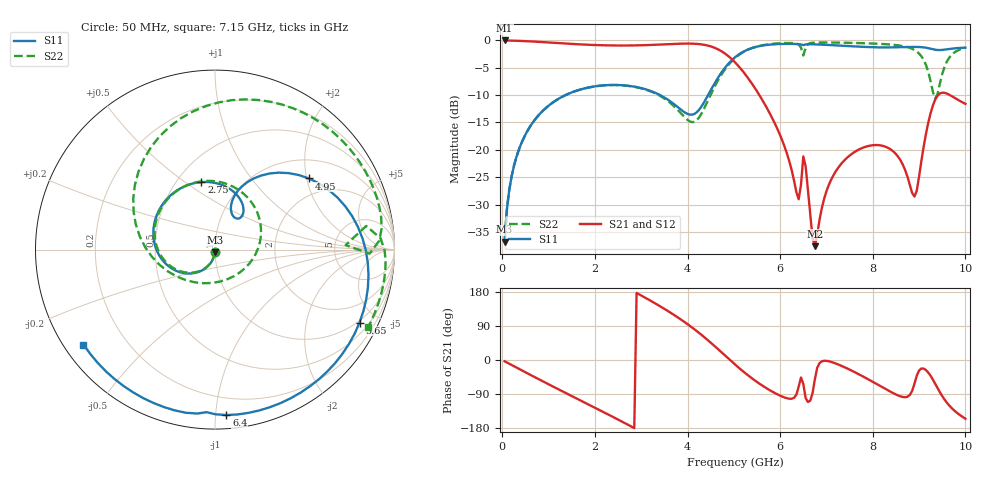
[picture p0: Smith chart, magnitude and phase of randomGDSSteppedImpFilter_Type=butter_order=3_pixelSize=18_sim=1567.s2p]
! freq	dB(S11)	phase(S11)	dB(S12)	phase(S12)
!  dB(S21)	phase(S21)	dB(S22)	phase(S22)
!S-par simulation data
#  GHz  S  DB  R 50
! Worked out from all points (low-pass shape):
!   200 points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, 50 MHz to 10 GHz, reference 50 ohm
!   highest |S21| = -0.01 dB at 50 MHz (marker M1); lowest = -37.6 dB at 6.75 GHz (marker M2)
!   |S21| within 3 dB of the highest: start of sweep to 4.9 GHz
!   lowest |S11| = -36.8 dB at 50 MHz (marker M3), VSWR 1.03, Z = 49.9 - j1.44 ohm
!   |S11| at or under -10 dB: start of sweep to 1.363 GHz; 3.409 GHz to 4.443 GHz (1.034 GHz wide, 26.3 % of centre)
!   |S22| runs from -36.8 to -0.4 dB; largest |S21 - S12| = 0
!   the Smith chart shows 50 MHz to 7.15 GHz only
!   S11 on the Smith chart (normalised r, x): 50 MHz: 1.00, -0.03; 2.75 GHz: 0.66, +0.58; 4.95 GHz: 1.48, +2.06; 5.65 GHz: 0.92, -4.00; 6.4 GHz: 0.08, -1.07; 7.15 GHz: 0.06, -0.32
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0.05  -36.80 -93.0  -0.01 -3.3  -0.01 -3.3  -36.80 -93.2
0.2  -24.89 -102.9  -0.04 -13.1  -0.04 -13.1  -24.90 -103.4
0.5  -17.21 -122.2  -0.13 -32.4  -0.13 -32.4  -17.21 -123.5
1.75  -8.82 161.1  -0.75 -110.6  -0.75 -110.6  -8.83 156.6
2.75  -8.32 101.3  -0.93 -173.2  -0.93 -173.2  -8.35 91.7
3.4  -9.96 64.8  -0.76 142.3  -0.76 142.3  -10.10 40.8
4.2  -13.12 64.8  -0.63 76.3  -0.63 76.3  -14.59 -95.1
4.95  -3.66 37.2  -3.38 -3.7  -3.38 -3.7  -3.86 128.2
5.05  -2.92 27.8  -4.22 -14.5  -4.22 -14.5  -3.06 115.9
5.65  -0.89 -26.8  -11.40 -70.3  -11.40 -70.3  -0.83 56.7
6.4  -0.69 -86.0  -29.04 -70.4  -29.04 -70.4  -0.75 3.1
6.5  -0.85 -93.0  -21.21 -63.0  -21.21 -63.0  -2.75 2.0
6.7  -0.70 -108.1  -36.13 -87.7  -36.13 -87.7  -0.42 -3.8
6.75  -0.72 -112.0  -37.61 -50.3  -37.61 -50.3  -0.39 -6.9
7.15  -0.88 -144.2  -24.66 -6.9  -24.66 -6.9  -0.39 -26.8
7.75  -1.16 160.6  -19.75 -40.9  -19.75 -40.9  -0.49 -52.5
8.35  -1.27 95.3  -19.74 -81.5  -19.74 -81.5  -0.73 -79.0
8.9  -1.19 33.5  -28.54 -62.8  -28.54 -62.8  -1.75 -117.2
9.15  -1.33 7.4  -17.03 -26.8  -17.03 -26.8  -4.51 -159.4
9.35  -1.70 -9.9  -10.79 -63.1  -10.79 -63.1  -10.63 97.1
9.6  -1.62 -27.4  -9.72 -112.6  -9.72 -112.6  -3.87 -20.8
10  -1.33 -56.7  -11.59 -155.0  -11.59 -155.0  -1.36 -67.8
